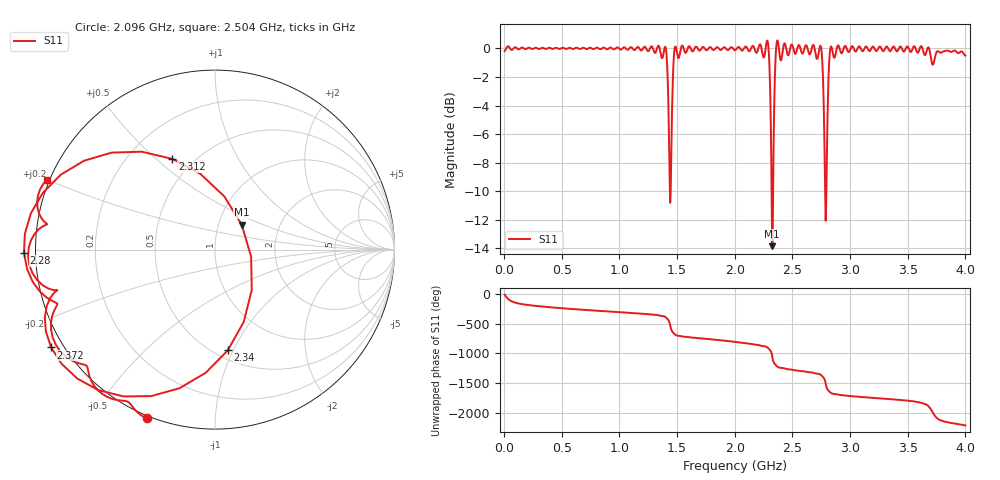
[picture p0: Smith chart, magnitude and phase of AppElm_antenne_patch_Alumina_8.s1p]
! TOUCHSTONE file generated by CST MICROWAVE STUDIO
! Date and time: Thu Jun  9 08:55:02 2022
! Project name: AppElm_antenne_patch_Alumina.cst
! Parameters = {L=33.55; W=41.8; e=0.035; h=1.6; lambda=0.190476; ls=90; w0=1.12; w1=0.373; ws=90; y0=14; y1=10}
! Header version: 2018
! Port assignment regex: !\s*Touchstone port\s*([0-9]+)\s*=\s*(CST MWS port|CST DS port)\s*([0-9]+|Zmin|Zmax)\s*\(\"(.*)\"\)(\s*mode\s*([0-9]+))?.*
! Touchstone port assignment:
! Touchstone port 1 = CST MWS port 1 ("")
# GHz S MA R 50
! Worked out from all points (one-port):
!   1000 points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, 4 MHz to 4 GHz, reference 50 ohm
!   lowest |S11| = -13.8 dB at 2.324 GHz (marker M1), VSWR 1.51, Z = 64.5 + j18.6 ohm
!   |S11| at or under -10 dB: 1.437586 GHz to 1.444223 GHz (6.638 MHz wide, 0.461 % of centre); 2.319 GHz to 2.332 GHz (13.01 MHz wide, 0.559 % of centre); 2.7833 GHz to 2.794227 GHz (10.93 MHz wide, 0.392 % of centre)
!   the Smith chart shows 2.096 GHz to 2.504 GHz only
!   S11 on the Smith chart (normalised r, x): 2.096 GHz: -0.01, -0.67; 2.28 GHz: -0.03, -0.01; 2.312 GHz: 0.38, +0.57; 2.34 GHz: 0.58, -0.95; 2.372 GHz: -0.03, -0.28; 2.504 GHz: -0.01, +0.20
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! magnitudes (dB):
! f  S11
! 4 MHz  -0.2
! 504 MHz  0.0
! 1.004 GHz  -0.1
! 1.392 GHz  0.1
! 1.408 GHz  -0.4
! 1.428 GHz  -5.4
! 1.44 GHz  -10.8
! 1.452 GHz  -6.1
! 1.476 GHz  -0.2
! 1.504 GHz  -0.5
! 2.004 GHz  -0.1
! 2.096 GHz  0.1
! 2.28 GHz  0.5
! 2.296 GHz  -0.4
! 2.312 GHz  -5.1
! 2.324 GHz  -13.8
! 2.34 GHz  -5.0
! 2.356 GHz  -0.3
! 2.372 GHz  0.5
! 2.504 GHz  0.1
! 2.74 GHz  0.2
! 2.756 GHz  -0.5
! 2.776 GHz  -5.9
! 2.788 GHz  -12.1
! 2.836 GHz  0.1
! 3.004 GHz  0.0
! 3.504 GHz  0.1
! 4 GHz  -0.5
